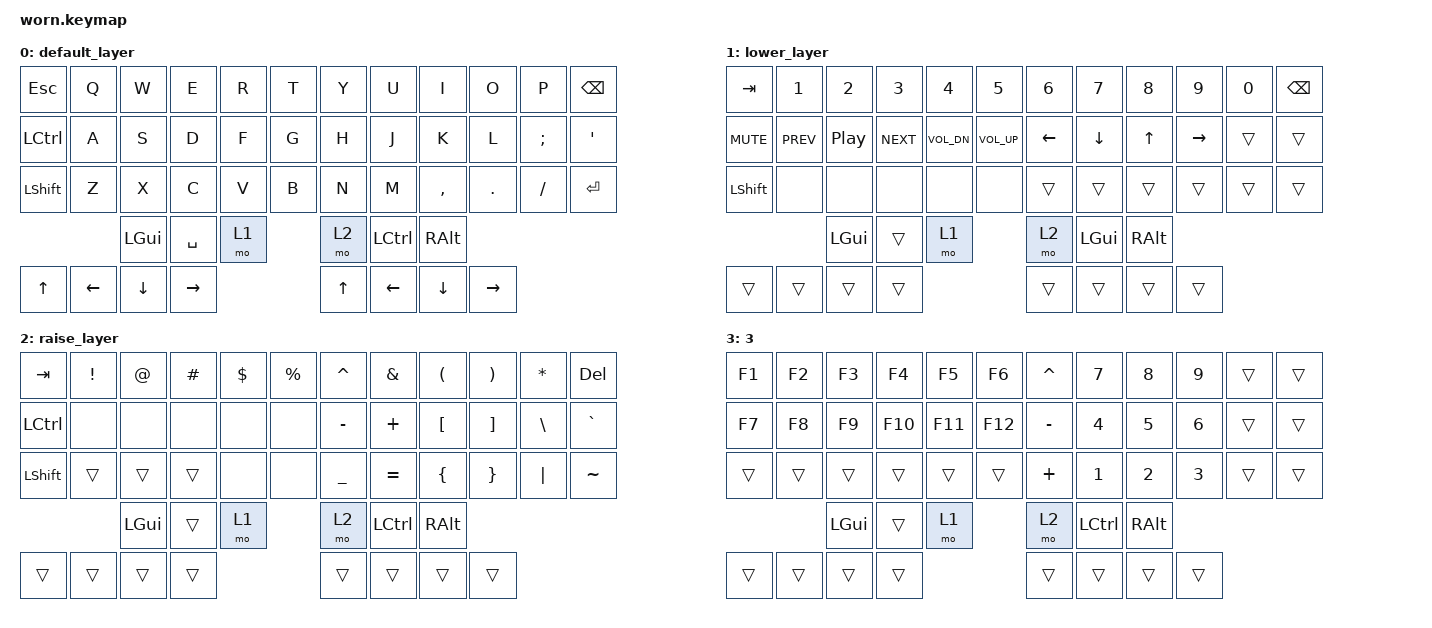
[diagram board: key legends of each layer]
#include <behaviors.dtsi>
#include <dt-bindings/zmk/keys.h>
#include <dt-bindings/zmk/bt.h>

/ {
        conditional_layers {
                compatible = "zmk,conditional-layers";
                tri_layer {
                        if-layers = <1 2>;
                        then-layer = <3>;
                };
        };

        keymap {
                compatible = "zmk,keymap";

                default_layer {
                        bindings = <
   &kp ESC   &kp Q &kp W &kp E &kp R &kp T   &kp Y &kp U  &kp I     &kp O   &kp P    &kp BSPC
   &kp LCTRL &kp A &kp S &kp D &kp F &kp G   &kp H &kp J  &kp K     &kp L   &kp SEMI &kp SQT
   &kp LSHFT &kp Z &kp X &kp C &kp V &kp B   &kp N &kp M  &kp COMMA &kp DOT &kp FSLH &kp RET
                  &kp LGUI &kp SPACE &mo 1   &mo 2 &kp LCTRL &kp RALT
      &kp UP &kp LEFT &kp DOWN &kp RIGHT     &kp UP &kp LEFT &kp DOWN &kp RIGHT
                        >;
                };
                
                lower_layer {

                        bindings = <
   &kp TAB          &kp N1           &kp N2           &kp N3           &kp N4           &kp N5             &kp N6           &kp N7           &kp N8           &kp N9           &kp N0           &kp BSPC
   &kp C_MUTE       &kp C_PREV       &kp C_PLAY_PAUSE &kp C_NEXT       &kp C_VOL_DN     &kp C_VOL_UP       &kp LEFT         &kp DOWN         &kp UP           &kp RIGHT        &trans           &trans
   &kp LSHFT        &none            &none            &none            &none            &none              &trans           &trans           &trans           &trans           &trans           &trans
                              &kp LGUI         &trans           &mo 1   &mo 2            &kp LGUI         &kp RALT
      &trans &trans &trans &trans                                      &trans &trans &trans &trans
                        >;
                };

                raise_layer {
                        bindings = <
   &kp TAB   &kp EXCL  &kp AT    &kp HASH  &kp DLLR  &kp PRCNT   &kp CARET &kp AMPS  &kp LPAR  &kp RPAR  &kp ASTRK &kp DEL
   &kp LCTRL &none     &none     &none     &none     &none       &kp MINUS &kp PLUS  &kp LBKT  &kp RBKT  &kp BSLH  &kp GRAVE
   &kp LSHFT &trans    &trans    &trans    &none     &none       &kp UNDER &kp EQUAL &kp LBRC  &kp RBRC  &kp PIPE  &kp TILDE
                              &kp LGUI  &trans    &mo 1   &mo 2     &kp LCTRL &kp RALT
      &trans &trans &trans &trans                                    &trans &trans &trans &trans
                        >;
                };

                3 {
                        bindings = <
   &kp F1    &kp F2    &kp F3    &kp F4    &kp F5    &kp F6      &kp CARET &kp N7    &kp N8    &kp N9    &trans    &trans
   &kp F7    &kp F8    &kp F9    &kp F10   &kp F11   &kp F12     &kp MINUS &kp N4    &kp N5    &kp N6    &trans    &trans
   &trans    &trans    &trans    &trans    &trans    &trans      &kp PLUS  &kp N1    &kp N2    &kp N3    &trans    &trans
                              &kp LGUI  &trans    &mo 1   &mo 2     &kp LCTRL &kp RALT
      &trans &trans &trans &trans                                  &trans &trans &trans &trans
                        >;
                };


        };
};
